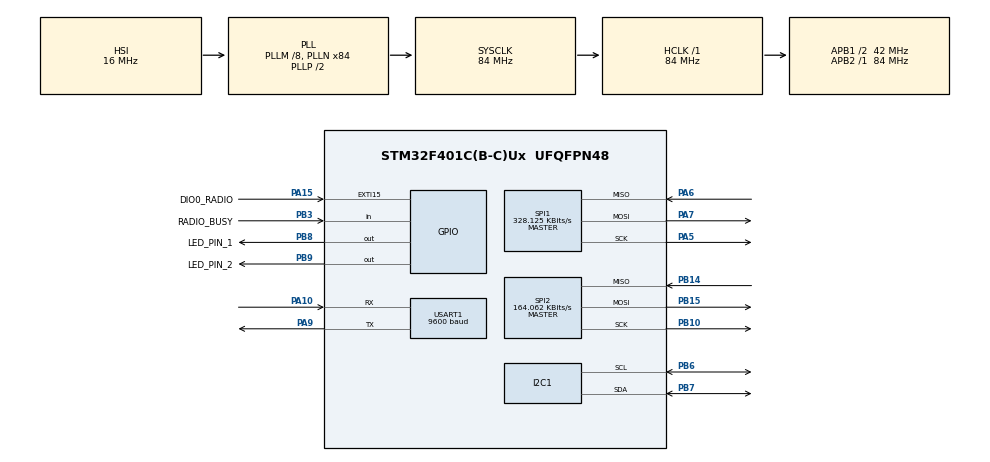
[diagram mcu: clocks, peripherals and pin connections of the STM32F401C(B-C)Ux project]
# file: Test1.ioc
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Mcu.Family=STM32F4
Mcu.Name=STM32F401C(B-C)Ux
Mcu.Package=UFQFPN48
NVIC.PriorityGroup=NVIC_PRIORITYGROUP_4
PA10.Mode=Asynchronous
PA10.Signal=USART1_RX
PA15.GPIO_Label=DIO0_RADIO
PA15.Signal=GPXTI15
PA5.Mode=Full_Duplex_Master
PA5.Signal=SPI1_SCK
PA6.Mode=Full_Duplex_Master
PA6.Signal=SPI1_MISO
PA7.Mode=Full_Duplex_Master
PA7.Signal=SPI1_MOSI
PA9.Mode=Asynchronous
PA9.Signal=USART1_TX
PB10.Mode=Full_Duplex_Master
PB10.Signal=SPI2_SCK
PB14.Mode=Full_Duplex_Master
PB14.Signal=SPI2_MISO
PB15.Mode=Full_Duplex_Master
PB15.Signal=SPI2_MOSI
PB3.GPIO_Label=RADIO_BUSY
PB3.Signal=GPIO_Input
PB6.Mode=I2C
PB6.Signal=I2C1_SCL
PB7.Mode=I2C
PB7.Signal=I2C1_SDA
PB8.GPIO_Label=LED_PIN_1
PB8.Signal=GPIO_Output
PB9.GPIO_Label=LED_PIN_2
PB9.Signal=GPIO_Output
PH0\ -\ OSC_IN.Mode=HSE-External-Oscillator
PH0\ -\ OSC_IN.Signal=RCC_OSC_IN
PH1\ -\ OSC_OUT.Mode=HSE-External-Oscillator
PH1\ -\ OSC_OUT.Signal=RCC_OSC_OUT
ProjectManager.HeapSize=0x400
ProjectManager.StackSize=0x800
ProjectManager.TargetToolchain=STM32CubeIDE
RCC.48MHZClocksFreq_Value=42000000
RCC.AHBFreq_Value=84000000
RCC.APB1CLKDivider=RCC_HCLK_DIV2
RCC.APB1Freq_Value=42000000
RCC.APB1TimFreq_Value=84000000
RCC.APB2Freq_Value=84000000
RCC.APB2TimFreq_Value=84000000
RCC.CortexFreq_Value=84000000
RCC.HCLKFreq_Value=84000000
RCC.HSE_VALUE=25000000
RCC.HSI_VALUE=16000000
RCC.LSE_VALUE=32768
RCC.PLLM=8
RCC.PLLN=84
RCC.SYSCLKFreq_VALUE=84000000
RCC.SYSCLKSource=RCC_SYSCLKSOURCE_PLLCLK
RCC.VCOOutputFreq_Value=168000000
SPI1.BaudRatePrescaler=SPI_BAUDRATEPRESCALER_256
SPI1.CalculateBaudRate=328.125 KBits/s
SPI1.Direction=SPI_DIRECTION_2LINES
SPI1.Mode=SPI_MODE_MASTER
SPI1.VirtualType=VM_MASTER
SPI2.BaudRatePrescaler=SPI_BAUDRATEPRESCALER_256
SPI2.CalculateBaudRate=164.062 KBits/s
SPI2.Direction=SPI_DIRECTION_2LINES
SPI2.Mode=SPI_MODE_MASTER
SPI2.VirtualType=VM_MASTER
USART1.BaudRate=9600
USART1.VirtualMode=VM_ASYNC
board=custom

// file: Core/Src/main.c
/* USER CODE BEGIN Header */
/**
  ******************************************************************************
  * @file           : main.c
  * @brief          : Main program body
  ******************************************************************************
  * @attention
  *
  * Copyright (c) 2026 STMicroelectronics.
  * All rights reserved.
  *
  * This software is licensed under terms that can be found in the LICENSE file
  * in the root directory of this software component.
  * If no LICENSE file comes with this software, it is provided AS-IS.
  *
  ******************************************************************************
  */
/* USER CODE END Header */
#include "main.h"
#include "i2c.h"
#include "spi.h"
#include "usart.h"
#include "gpio.h"

/* USER CODE BEGIN Includes */
#include "serial_print.h"
#include "lis3mdl.h"
#include "bmp388.h"
#include "mpu6050.h"
#include "hmc5883l.h"
#include "lora278.h"
#include "motor_control.h"
#include "pca9685.h"
#include <stdio.h>
#include <stdlib.h>
/* USER CODE END Includes */

/* USER CODE BEGIN PV */
HMC5883L_Data_t mag_data;
struct bmp388_dev bmp388_dev_obj;
/* USER CODE END PV */

void SystemClock_Config(void);

int main(void)
{

  /* MCU Configuration--------------------------------------------------------*/

  /* Reset of all peripherals, Initializes the Flash interface and the Systick. */
  HAL_Init();

  /* Configure the system clock */
  SystemClock_Config();

  /* Initialize all configured peripherals */
  MX_GPIO_Init();
  MX_USART1_UART_Init();
  MX_SPI2_Init();
  MX_I2C1_Init();
  MX_SPI1_Init();
  /* USER CODE BEGIN 2 */
  Serial_Printf(&huart1, "\r\n--- Step1_Sensors INIT ---\r\n");

  if (MPU6050_Init(&hi2c1) != HAL_OK) {
      if (MPU6050_Init(&hi2c3) != HAL_OK) {
          Serial_Printf(&huart1, "MPU6050 init failed!\r\n");
      } else {
          Serial_Printf(&huart1, "MPU6050 initialized on I2C3\r\n");
      }
  } else {
      Serial_Printf(&huart1, "MPU6050 initialized on I2C1\r\n");
  }

  if (HMC5883L_Init(&hi2c1) != HAL_OK) {
       if (HMC5883L_Init(&hi2c3) != HAL_OK) {
           Serial_Printf(&huart1, "HMC5883L init failed!\r\n");
       } else {
           Serial_Printf(&huart1, "HMC5883L initialized on I2C3\r\n");
       }
  } else {
      Serial_Printf(&huart1, "HMC5883L initialized on I2C1\r\n");
  }

  int8_t rslt = BMP388_Init(&bmp388_dev_obj, &hi2c1);
  if (rslt != 0) {
      rslt = BMP388_Init(&bmp388_dev_obj, &hi2c3);
      if (rslt != 0) {
          Serial_Printf(&huart1, "BMP388 init failed!\r\n");
      } else {
          Serial_Printf(&huart1, "BMP388 initialized on I2C3\r\n");
      }
  } else {
      Serial_Printf(&huart1, "BMP388 initialized on I2C1\r\n");
  }

  uint32_t last_telemetry_tick = HAL_GetTick();
  /* USER CODE END 2 */

  /* Infinite loop */
  /* USER CODE BEGIN WHILE */
  char uart_buf[200];
  MPU6050_Raw_t raw;
  MPU6050_Physical_t phys;
  struct bmp3_data bmp_data = {0};

  while (1)
  {
      if (HAL_GetTick() - last_telemetry_tick >= 100) {
          last_telemetry_tick = HAL_GetTick();

          float accel_x = 0, accel_y = 0, accel_z = 0;
          float gyro_x = 0, gyro_y = 0, gyro_z = 0;
          float mag_x = 0, mag_y = 0, mag_z = 0;

          if (MPU6050_ReadRaw(&hi2c1, &raw) == HAL_OK || MPU6050_ReadRaw(&hi2c3, &raw) == HAL_OK) {
              MPU6050_ToPhysical(&raw, &phys);
              accel_x = phys.Accel_X;
              accel_y = phys.Accel_Y;
              accel_z = phys.Accel_Z;
              gyro_x = phys.Gyro_X;
              gyro_y = phys.Gyro_Y;
              gyro_z = phys.Gyro_Z;
          }

          if (HMC5883L_ReadData(&hi2c1, &mag_data) == HAL_OK || HMC5883L_ReadData(&hi2c3, &mag_data) == HAL_OK) {
              mag_x = mag_data.x * 0.92f;
              mag_y = mag_data.y * 0.92f;
              mag_z = mag_data.z * 0.92f;
          }

          BMP388_ReadData(&bmp388_dev_obj, &bmp_data);

          // Avoid float printf due to GCC default config on STM32
          int ax = (int)(accel_x * 100), ay = (int)(accel_y * 100), az = (int)(accel_z * 100);
          int gx = (int)(gyro_x * 100), gy = (int)(gyro_y * 100), gz = (int)(gyro_z * 100);
          int mx = (int)(mag_x * 100), my = (int)(mag_y * 100), mz = (int)(mag_z * 100);
          int press = (int)(bmp_data.pressure / 100); // hPa
          int temp = (int)(bmp_data.temperature * 100);

          sprintf(uart_buf, "ACC:%d.%02d,%d.%02d,%d.%02d GYRO:%d.%02d,%d.%02d,%d.%02d MAG:%d.%02d,%d.%02d,%d.%02d BMP:%d hPa, %d.%02d C\r\n",
                   ax/100, abs(ax)%100, ay/100, abs(ay)%100, az/100, abs(az)%100,
                   gx/100, abs(gx)%100, gy/100, abs(gy)%100, gz/100, abs(gz)%100,
                   mx/100, abs(mx)%100, my/100, abs(my)%100, mz/100, abs(mz)%100,
                   press, temp/100, abs(temp)%100);

          Serial_Printf(&huart1, "%s", uart_buf);
      }

    /* USER CODE END WHILE */

  }
}

void SystemClock_Config(void)
{
  RCC_OscInitTypeDef RCC_OscInitStruct = {0};
  RCC_ClkInitTypeDef RCC_ClkInitStruct = {0};

  /** Configure the main internal regulator output voltage
  */
  __HAL_RCC_PWR_CLK_ENABLE();
  __HAL_PWR_VOLTAGESCALING_CONFIG(PWR_REGULATOR_VOLTAGE_SCALE2);

  /** Initializes the RCC Oscillators according to the specified parameters
  * in the RCC_OscInitTypeDef structure.
  */
  RCC_OscInitStruct.OscillatorType = RCC_OSCILLATORTYPE_HSI;
  RCC_OscInitStruct.HSIState = RCC_HSI_ON;
  RCC_OscInitStruct.HSICalibrationValue = RCC_HSICALIBRATION_DEFAULT;
  RCC_OscInitStruct.PLL.PLLState = RCC_PLL_ON;
  RCC_OscInitStruct.PLL.PLLSource = RCC_PLLSOURCE_HSI;
  RCC_OscInitStruct.PLL.PLLM = 8;
  RCC_OscInitStruct.PLL.PLLN = 84;
  RCC_OscInitStruct.PLL.PLLP = RCC_PLLP_DIV2;
  RCC_OscInitStruct.PLL.PLLQ = 4;
  if (HAL_RCC_OscConfig(&RCC_OscInitStruct) != HAL_OK)
  {
    Error_Handler();
  }

  /** Initializes the CPU, AHB and APB buses clocks
  */
  RCC_ClkInitStruct.ClockType = RCC_CLOCKTYPE_HCLK|RCC_CLOCKTYPE_SYSCLK
                              |RCC_CLOCKTYPE_PCLK1|RCC_CLOCKTYPE_PCLK2;
  RCC_ClkInitStruct.SYSCLKSource = RCC_SYSCLKSOURCE_PLLCLK;
  RCC_ClkInitStruct.AHBCLKDivider = RCC_SYSCLK_DIV1;
  RCC_ClkInitStruct.APB1CLKDivider = RCC_HCLK_DIV2;
  RCC_ClkInitStruct.APB2CLKDivider = RCC_HCLK_DIV1;

  if (HAL_RCC_ClockConfig(&RCC_ClkInitStruct, FLASH_LATENCY_2) != HAL_OK)
  {
    Error_Handler();
  }
}

void Error_Handler(void)
{
  __disable_irq();
  while (1)
  {
  }
}
